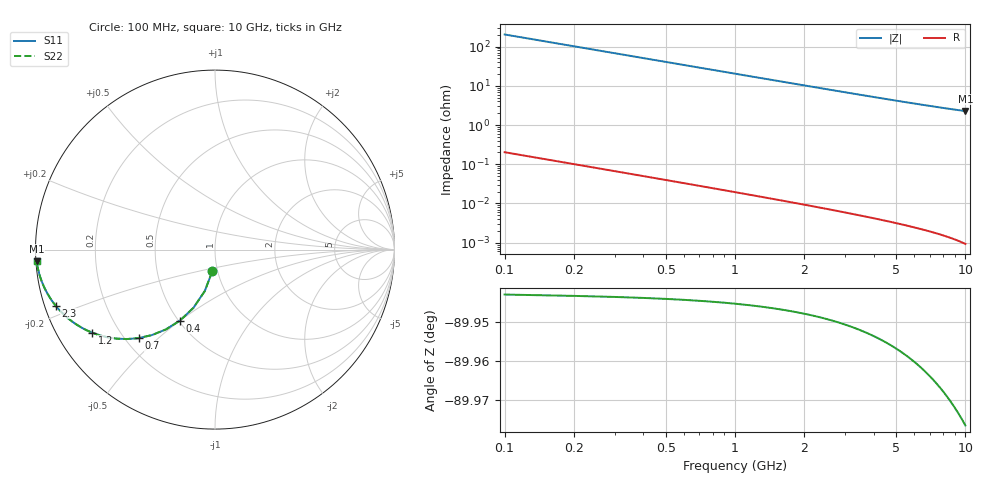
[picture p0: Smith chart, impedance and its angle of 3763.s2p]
# Hz S RI R 50.00
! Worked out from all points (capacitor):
!   100 points, 100 MHz to 10 GHz, reference 50 ohm
!   read as one part in shunt: C = 7.82 pF near 100 MHz
!   lowest |Z| = 2.27 ohm at 10 GHz (marker M1)
!   S11 on the Smith chart (normalised r, x): 100 MHz: 0.94, -0.23; 400 MHz: 0.51, -0.50; 700 MHz: 0.25, -0.43; 1.2 GHz: 0.10, -0.30; 2.3 GHz: 0.03, -0.17; 10 GHz: 0.00, -0.03
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1e8  -0.0149 -0.1209  0.985 -0.1211  0.985 -0.1211  -0.0149 -0.1209
2e8  -0.0571 -0.2314  0.9428 -0.2318  0.9428 -0.2318  -0.0571 -0.2314
3e8  -0.1198 -0.3239  0.8801 -0.3246  0.8801 -0.3246  -0.1198 -0.3239
4e8  -0.1947 -0.395  0.8052 -0.396  0.8052 -0.396  -0.1947 -0.395
5e8  -0.2741 -0.445  0.7258 -0.4462  0.7258 -0.4462  -0.2741 -0.445
6e8  -0.3521 -0.4764  0.6478 -0.4778  0.6478 -0.4778  -0.3521 -0.4764
7e8  -0.4251 -0.4931  0.5748 -0.4947  0.5748 -0.4947  -0.4251 -0.4931
9e8  -0.5499 -0.4959  0.45 -0.498  0.45 -0.498  -0.5499 -0.4959
1e9  -0.6013 -0.488  0.3986 -0.4903  0.3986 -0.4903  -0.6013 -0.488
1.2e9  -0.6846 -0.4627  0.3153 -0.4655  0.3153 -0.4655  -0.6846 -0.4627
1.3e9  -0.7181 -0.4479  0.2818 -0.4509  0.2818 -0.4509  -0.7181 -0.4479
1.5e9  -0.7723 -0.4171  0.2276 -0.4206  0.2276 -0.4206  -0.7723 -0.4171
1.8e9  -0.83 -0.373  0.1699 -0.3772  0.1699 -0.3772  -0.83 -0.373
2e9  -0.8577 -0.3465  0.1422 -0.3511  0.1422 -0.3511  -0.8577 -0.3465
2.3e9  -0.8885 -0.3115  0.1114 -0.3168  0.1114 -0.3168  -0.8885 -0.3115
2.8e9  -0.922 -0.2643  0.0779 -0.2709  0.0779 -0.2709  -0.922 -0.2643
3.4e9  -0.9457 -0.2219  0.0541 -0.2298  0.0541 -0.2298  -0.9457 -0.2219
4.2e9  -0.9638 -0.181  0.036 -0.1909  0.036 -0.1909  -0.9638 -0.181
5.1e9  -0.9752 -0.1485  0.0246 -0.1606  0.0246 -0.1606  -0.9752 -0.1485
6.7e9  -0.9856 -0.11  0.0142 -0.1261  0.0142 -0.1261  -0.9856 -0.11
8.4e9  -0.9909 -0.0833  0.00879 -0.1039  0.00879 -0.1039  -0.9909 -0.0833
1e10  -0.9936 -0.0653  0.00597 -0.0903  0.00597 -0.0903  -0.9936 -0.0653
